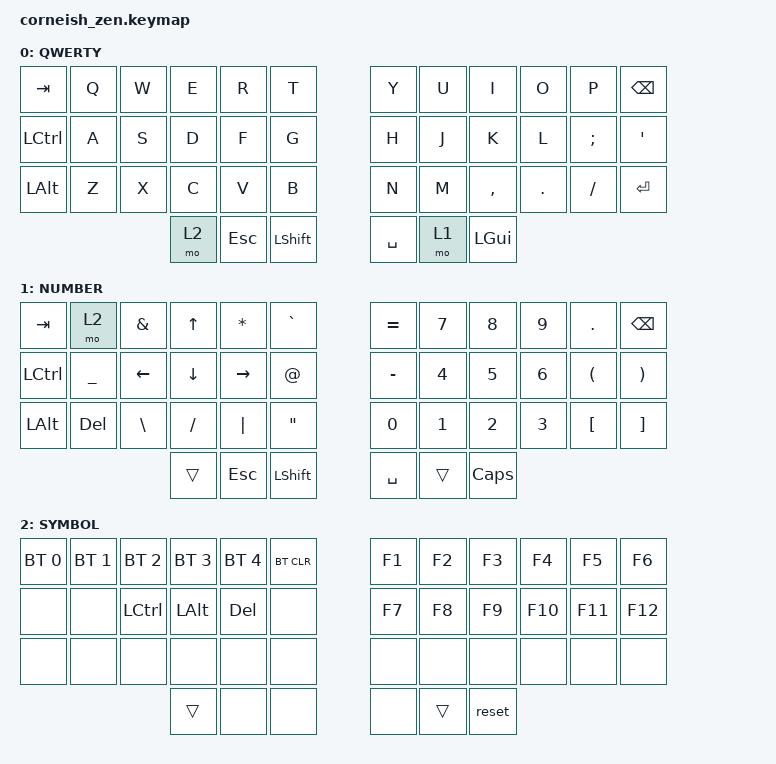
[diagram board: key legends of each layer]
#include <behaviors.dtsi>
#include <dt-bindings/zmk/keys.h>
#include <dt-bindings/zmk/bt.h>

/ {
  chosen {
    zmk,matrix_transform = &default_transform;
    //zmk,matrix_transform = &five_column_transform;
  };
};

/ {
        keymap {
                compatible = "zmk,keymap";

                default_layer {
                        label = "QWERTY";
// -----------------------------------------------------------------------------------------
// | TAB  |  Q  |  W  |  E  |  R  |  T   |   |  Y  |  U   |  I  |  O  |  P  |  BKSP  |
// | CTRL |  A  |  S  |  D  |  F  |  G   |   |  H  |  J   |  K  |  L  |  ;  |    '   |
// | LALT |  Z  |  X  |  C  |  V  |  B   |   |  N  |  M   |  ,  |  .  |  /  |  ENTER |
//                    | RSE | ESC | SHFT |   | SPC | LWR  | GUI |
                        bindings = <
   &kp TAB   &kp Q &kp W &kp E   &kp R   &kp T     &kp Y     &kp U  &kp I     &kp O   &kp P    &kp BSPC
   &kp LCTRL &kp A &kp S &kp D   &kp F   &kp G     &kp H     &kp J  &kp K     &kp L   &kp SEMI &kp SQT
   &kp LALT  &kp Z &kp X &kp C   &kp V   &kp B     &kp N     &kp M  &kp COMMA &kp DOT &kp FSLH &kp ENTER
                         &mo 2   &kp ESC &kp LSHFT &kp SPACE &mo 1  &kp LGUI
                        >;
                };
                lower_layer {
                        label = "NUMBER";
// -----------------------------------------------------------------------------------------
// | TAB  | RSE |  &  |  UP |  *  |  ~   |   |  =  |  7  |  8  |  9  |  .  | BKSP |
// | CTRL |  _  | LFT | DWN | RGT |  @   |   |  -  |  4  |  5  |  6  |  (  |  )   |
// | ALT  | DEL |  \  |  /  | "|" |  "   |   |  0  |  1  |  2  |  3  |  [  |  ]   |
//                    |     | ESC | SHFT |   | SPC |     | CAPS |
                        bindings = <
   &kp TAB   &mo 2     &kp AMPS &kp UP   &kp ASTRK &kp GRAVE    &kp EQUAL &kp N7  &kp N8 &kp N9 &kp DOT  &kp BSPC
   &kp LCTRL &kp UNDER &kp LEFT &kp DOWN &kp RIGHT &kp AT       &kp MINUS &kp N4  &kp N5 &kp N6 &kp LPAR &kp RPAR
   &kp LALT  &kp DEL   &kp BSLH &kp FSLH &kp PIPE  &kp DQT      &kp N0    &kp N1  &kp N2 &kp N3 &kp LBKT &kp RBKT
                          	&trans   &kp ESC   &kp LSHFT    &kp SPACE &trans  &kp CAPS
                        >;
                };

                raise_layer {
                        label = "SYMBOL";
// -----------------------------------------------------------------------------------------
// | BT1 | BT2 | BT3  | BT4 | BT5 | BT CLR |   | F1  | F2  |  F3   | F4  | F5  | F6  |
// |     |     | CTRL | ALT | DEL |        |   | F7  | F8  |  F9   | F10 | F11 | F12 |
// |     |     |      |     |     |        |   |     |     |       |     |     |     |
//                    |     |     |        |   |     |     | RESET |
                        bindings = <
   &bt BT_SEL 0 &bt BT_SEL 1 &bt BT_SEL 2 &bt BT_SEL 3 &bt BT_SEL 4 &bt BT_CLR      &kp F1  &kp F2   &kp F3   &kp F4   &kp F5    &kp F6
   &none        &none        &kp LCTRL    &kp LALT     &kp DEL      &none           &kp F7  &kp F8   &kp F9   &kp F10  &kp F11   &kp F12
   &none        &none        &none        &none        &none        &none           &none   &none    &none    &none    &none     &none
                    	                  &trans       &none        &none           &none   &trans   &reset
                        >;
                };
        };
};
